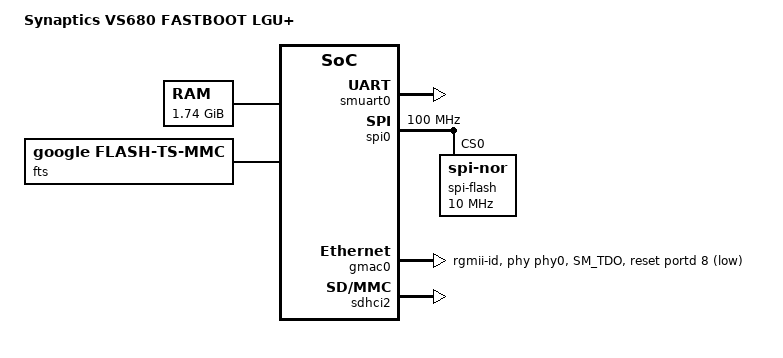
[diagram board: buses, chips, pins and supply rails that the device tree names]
/* SPDX-License-Identifier: GPL-2.0+ */
/*
 * Copyright (C) 2019 Synaptics Incorporated
 *
 * Author: Shaojun Feng <Shaojun.Feng@synaptics.com>
 *
 */

/dts-v1/;

#include "vs680.dtsi"
#include "include/dt-bindings/gpio/gpio.h"
#include "berlin-fastboot-gui.dtsi"

/ {
	model = "Synaptics VS680 FASTBOOT LGU+";
	compatible = "Synaptics,vs680", "Synaptics,asserial";
	fastboot,product-name = "vs680";

	memory {
		device_type = "memory";
		reg = <0 0x04100000 0 0x6f700000>;
	};

	fts {
		compatible = "google,flash-ts-mmc";
	};

	chosen {
                stdout-path = &smuart0;
        };
};

&sysmgr_pinctrl {
	ge_phy_rst_pmux: ge_phy_rst_pmux {
		groups = "SM_TDO";
		function = "gpio";
	};
};

&pinctrl {
        emmc_pmux: emmc-pmux {
                groups = "NAND_IO0", "NAND_IO1", "NAND_IO2", "NAND_IO3", "NAND_IO4", "NAND_IO5", "ND_IO6", "NAND_IO7", "NAND_ALE", "NAND_CLE", "NAND_WPn";
                function = "emmc";
        };
};

&CPU_SLEEP_0 {
	status = "disabled";
};

&smuart0 {
	status = "okay";
};

&spi0 {
	status = "okay";
	max-write-size = <128>;
	clock-frequency = <100000000>;
	spi-flash@0 {
		#address-cells = <1>;
		#size-cells = <1>;
		compatible = "jedec,spi-nor";
		reg = <0>;
		memory-map = <0x0 0xf0000000 0x0 0x4000000>;
		spi-max-frequency = <10000000>;
        };
};

&phy0 {
	reg = <0>;
};

&gmac0 {
	status = "okay";
	pinctrl-names = "default";
	pinctrl-0 = <&ge_phy_rst_pmux>;
	max-speed = <1000>;
	phy-mode = "rgmii-id";
	phy-handle = <&phy0>;
	phy = <&phy0>;
	snps,reset-gpio = <&portd 8 GPIO_ACTIVE_HIGH>;
	snps,reset-active-low;
	snps,reset-delays-us = <0 50000 50000>;
};

&sdhci2 {
	status = "okay";
	max-frequency = <50000000>;
	cap-mmc-highspeed;
	1_8v-signalling;
};
